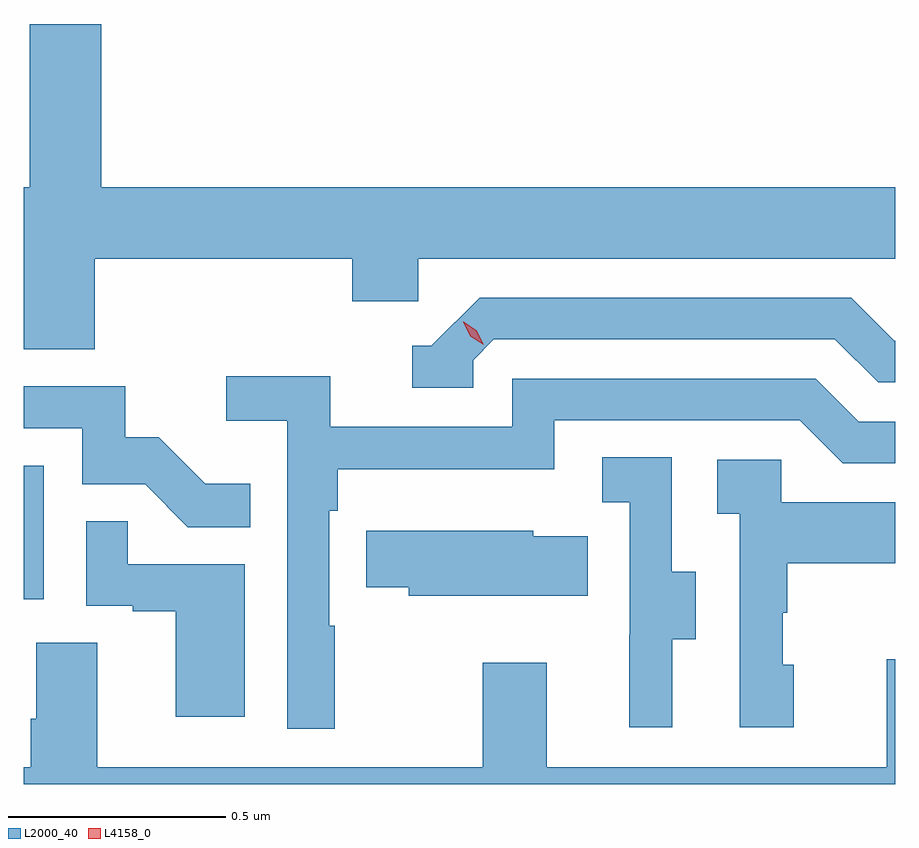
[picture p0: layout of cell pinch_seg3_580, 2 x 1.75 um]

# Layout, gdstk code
import gdstk
lib = gdstk.Library(unit=1e-6, precision=1e-09)
def R(c, l, rs):  # rectangles x0, y0, x1, y1
    for r in rs: c.add(gdstk.rectangle(r[:2], r[2:], *l))
def P(c, l, *ps):  # polygons
    for p in ps: c.add(gdstk.Polygon(p, *l))
L2000_40 = (2000, 40)
L4158_0 = (4158, 0)

pinch_seg3_580 = lib.new_cell('pinch_seg3_580')
R(pinch_seg3_580, L2000_40, [(1142.017,694.806,1142.062,695.113)])
P(pinch_seg3_580, L2000_40, [(1142.18,695.588),(1142.771,695.588),(1142.771,695.49),(1142.922,695.49),(1142.922,695.588),(1144.017,695.588),(1144.017,695.752),(1142.194,695.752),(1142.194,696.127),(1142.03,696.127),(1142.03,695.752),(1142.017,695.752),(1142.017,695.38),(1142.18,695.38)],
  [(1143.048,695.355),(1143.096,695.403),(1143.879,695.403),(1143.978,695.304),(1144.017,695.304),(1144.017,695.4),(1144.015,695.4),(1143.916,695.499),(1143.063,695.499),(1142.952,695.388),(1142.909,695.388),(1142.909,695.292),(1143.048,695.292)],
  [(1142.731,694.745),(1142.718,694.745),(1142.718,695.009),(1142.737,695.009),(1142.737,695.105),(1143.234,695.105),(1143.234,695.217),(1143.798,695.217),(1143.897,695.118),(1144.017,695.118),(1144.017,695.214),(1143.934,695.214),(1143.835,695.313),(1143.138,695.313),(1143.138,695.202),(1142.72,695.202),(1142.72,695.318),(1142.481,695.318),(1142.481,695.216),(1142.622,695.216),(1142.622,694.509),(1142.731,694.509)],
  [(1142.537,695.071),(1142.433,695.071),(1142.326,695.178),(1142.25,695.178),(1142.25,695.295),(1142.017,695.295),(1142.017,695.199),(1142.151,695.199),(1142.151,695.07),(1142.295,695.07),(1142.393,694.972),(1142.537,694.972)],
  [(1143.505,694.714),(1143.559,694.714),(1143.559,694.869),(1143.504,694.869),(1143.504,695.132),(1143.345,695.132),(1143.345,695.029),(1143.408,695.029),(1143.408,694.725),(1143.407,694.725),(1143.407,694.512),(1143.505,694.512)],
  [(1143.784,694.656),(1143.759,694.656),(1143.759,694.775),(1143.769,694.775),(1143.769,694.889),(1144.017,694.889),(1144.017,695.029),(1143.756,695.029),(1143.756,695.127),(1143.609,695.127),(1143.609,695.003),(1143.66,695.003),(1143.66,694.512),(1143.784,694.512)],
  [(1142.524,694.887),(1142.255,694.887),(1142.255,694.985),(1142.16,694.985),(1142.16,694.791),(1142.267,694.791),(1142.267,694.779),(1142.366,694.779),(1142.366,694.536),(1142.524,694.536)],
  [(1143.311,694.951),(1143.186,694.951),(1143.186,694.963),(1142.803,694.963),(1142.803,694.834),(1142.901,694.834),(1142.901,694.814),(1143.311,694.814)],
  [(1144.017,694.669),(1143.998,694.669),(1143.998,694.42),(1143.217,694.42),(1143.217,694.66),(1143.07,694.66),(1143.07,694.42),(1142.185,694.42),(1142.185,694.706),(1142.045,694.706),(1142.045,694.532),(1142.033,694.532),(1142.033,694.42),(1142.017,694.42),(1142.017,694.382),(1144.017,694.382)])
P(pinch_seg3_580, L4158_0, [(1143.073,695.39),(1143.042,695.41),(1143.026,695.442),(1143.026,695.443),(1143.027,695.443),(1143.057,695.423),(1143.073,695.39),(1143.073,695.39)])

lib.write_gds('pinch_seg3_580.gds')
